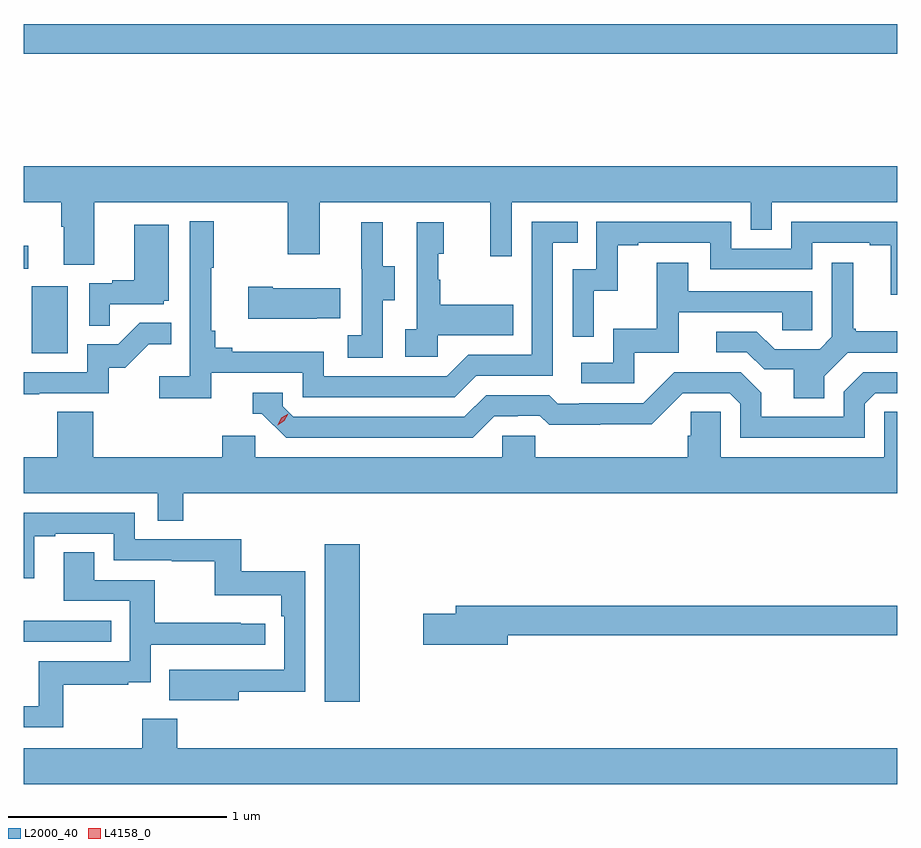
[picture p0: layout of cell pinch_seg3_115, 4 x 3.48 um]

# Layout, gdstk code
import gdstk
lib = gdstk.Library(unit=1e-6, precision=1e-09)
def R(c, l, rs):  # rectangles x0, y0, x1, y1
    for r in rs: c.add(gdstk.rectangle(r[:2], r[2:], *l))
def P(c, l, *ps):  # polygons
    for p in ps: c.add(gdstk.Polygon(p, *l))
L2000_40 = (2000, 40)
L4158_0 = (4158, 0)

pinch_seg3_115 = lib.new_cell('pinch_seg3_115')
R(pinch_seg3_115, L2000_40, [(1058.657,713.28,1058.818,714.001), (1057.279,713.556,1057.679,713.652), (1057.316,714.876,1057.48,715.183), (1057.279,715.263,1057.3,715.369), (1057.279,716.248,1061.279,716.384)])
P(pinch_seg3_115, L2000_40, [(1057.603,715.568),(1058.488,715.568),(1058.488,715.329),(1058.635,715.329),(1058.635,715.568),(1059.416,715.568),(1059.416,715.32),(1059.513,715.32),(1059.513,715.568),(1060.608,715.568),(1060.608,715.441),(1060.704,715.441),(1060.704,715.568),(1061.279,715.568),(1061.279,715.732),(1057.279,715.732),(1057.279,715.568),(1057.451,715.568),(1057.451,715.456),(1057.463,715.456),(1057.463,715.282),(1057.603,715.282)],
  [(1058.138,714.786),(1058.556,714.786),(1058.556,714.675),(1059.253,714.675),(1059.352,714.774),(1059.702,714.774),(1059.702,715.383),(1059.815,715.383),(1059.815,715.479),(1059.606,715.479),(1059.606,714.87),(1059.315,714.87),(1059.216,714.771),(1058.652,714.771),(1058.652,714.883),(1058.233,714.883),(1058.233,714.902),(1058.156,714.902),(1058.156,714.979),(1058.137,714.979),(1058.137,715.267),(1058.149,715.267),(1058.149,715.48),(1058.04,715.48),(1058.04,714.772),(1057.899,714.772),(1057.899,714.67),(1058.138,714.67)],
  [(1059.888,715.163),(1059.998,715.163),(1059.998,715.371),(1060.093,715.371),(1060.093,715.383),(1060.422,715.383),(1060.422,715.26),(1060.89,715.26),(1060.89,715.383),(1061.153,715.383),(1061.153,715.371),(1061.249,715.371),(1061.249,715.145),(1061.279,715.145),(1061.279,715.479),(1060.794,715.479),(1060.794,715.356),(1060.518,715.356),(1060.518,715.479),(1059.9,715.479),(1059.9,715.26),(1059.792,715.26),(1059.792,714.951),(1059.888,714.951)],
  [(1058.922,715.12),(1058.977,715.12),(1058.977,715.275),(1058.923,715.275),(1058.923,715.477),(1058.825,715.477),(1058.825,715.263),(1058.826,715.263),(1058.826,714.959),(1058.763,714.959),(1058.763,714.856),(1058.922,714.856)],
  [(1059.174,714.959),(1059.521,714.959),(1059.521,715.099),(1059.187,715.099),(1059.187,715.214),(1059.177,715.214),(1059.177,715.332),(1059.202,715.332),(1059.202,715.477),(1059.078,715.477),(1059.078,714.986),(1059.027,714.986),(1059.027,714.861),(1059.174,714.861)],
  [(1057.673,715.101),(1057.92,715.101),(1057.92,715.116),(1057.942,715.116),(1057.942,715.465),(1057.784,715.465),(1057.784,715.21),(1057.685,715.21),(1057.685,715.197),(1057.578,715.197),(1057.578,715.003),(1057.673,715.003)],
  [(1060.945,714.772),(1061.052,714.879),(1061.279,714.879),(1061.279,714.976),(1061.089,714.976),(1061.089,714.988),(1061.077,714.988),(1061.077,715.291),(1060.98,715.291),(1060.98,714.951),(1060.923,714.894),(1060.717,714.894),(1060.636,714.975),(1060.449,714.975),(1060.449,714.882),(1060.59,714.882),(1060.67,714.802),(1060.805,714.802),(1060.805,714.67),(1060.945,714.67)],
  [(1060.074,714.879),(1060.279,714.879),(1060.279,715.065),(1060.753,715.065),(1060.753,714.981),(1060.89,714.981),(1060.89,715.161),(1060.321,715.161),(1060.321,715.291),(1060.177,715.291),(1060.177,714.988),(1059.978,714.988),(1059.978,714.834),(1059.831,714.834),(1059.831,714.738),(1060.074,714.738)],
  [(1058.621,715.037),(1058.729,715.037),(1058.729,715.174),(1058.419,715.174),(1058.419,715.182),(1058.307,715.182),(1058.307,715.034),(1058.621,715.034)],
  [(1057.349,714.693),(1057.668,714.693),(1057.668,714.81),(1057.744,714.81),(1057.851,714.917),(1057.955,714.917),(1057.955,715.016),(1057.811,715.016),(1057.713,714.918),(1057.569,714.918),(1057.569,714.789),(1057.279,714.789),(1057.279,714.688),(1057.349,714.688)],
  [(1059.433,714.588),(1059.54,714.588),(1059.54,714.591),(1059.643,714.591),(1059.685,714.549),(1059.918,714.549),(1059.918,714.551),(1060.154,714.551),(1060.296,714.693),(1060.512,714.693),(1060.56,714.645),(1060.56,714.489),(1061.13,714.489),(1061.13,714.645),(1061.178,714.693),(1061.279,714.693),(1061.279,714.789),(1061.124,714.789),(1061.034,714.699),(1061.034,714.585),(1060.657,714.585),(1060.657,714.695),(1060.563,714.789),(1060.257,714.789),(1060.116,714.648),(1059.823,714.648),(1059.823,714.645),(1059.724,714.645),(1059.685,714.684),(1059.396,714.684),(1059.297,714.585),(1058.514,714.585),(1058.466,714.633),(1058.466,714.696),(1058.327,714.696),(1058.327,714.6),(1058.37,714.6),(1058.481,714.489),(1059.334,714.489)],
  [(1058.009,714.236),(1061.279,714.236),(1061.279,714.608),(1061.22,714.608),(1061.22,714.4),(1060.47,714.4),(1060.47,714.608),(1060.333,714.608),(1060.333,714.498),(1060.319,714.498),(1060.319,714.4),(1059.621,714.4),(1059.621,714.498),(1059.471,714.498),(1059.471,714.4),(1058.34,714.4),(1058.34,714.498),(1058.189,714.498),(1058.189,714.4),(1057.598,714.4),(1057.598,714.608),(1057.433,714.608),(1057.433,714.4),(1057.279,714.4),(1057.279,714.236),(1057.893,714.236),(1057.893,714.109),(1058.009,714.109)],
  [(1058.263,713.326),(1058.568,713.326),(1058.568,713.878),(1058.275,713.878),(1058.275,714.024),(1057.788,714.024),(1057.788,714.147),(1057.279,714.147),(1057.279,713.846),(1057.327,713.846),(1057.327,714.039),(1057.423,714.039),(1057.423,714.051),(1057.692,714.051),(1057.692,713.928),(1057.957,713.928),(1057.957,713.923),(1058.154,713.923),(1058.154,713.768),(1058.459,713.768),(1058.459,713.672),(1058.472,713.672),(1058.472,713.427),(1058.159,713.427),(1058.159,713.428),(1057.945,713.428),(1057.945,713.288),(1058.263,713.288)],
  [(1057.459,713.358),(1057.757,713.358),(1057.757,713.369),(1057.86,713.369),(1057.86,713.541),(1058.386,713.541),(1058.386,713.637),(1058.273,713.637),(1058.273,713.642),(1057.88,713.642),(1057.88,713.838),(1057.603,713.838),(1057.603,713.966),(1057.463,713.966),(1057.463,713.742),(1057.764,713.742),(1057.764,713.466),(1057.348,713.466),(1057.348,713.26),(1057.279,713.26),(1057.279,713.163),(1057.459,713.163)],
  [(1059.496,713.584),(1061.279,713.584),(1061.279,713.72),(1059.257,713.72),(1059.257,713.684),(1059.108,713.684),(1059.108,713.542),(1059.496,713.542)],
  [(1061.279,713.068),(1057.982,713.068),(1057.982,713.203),(1057.822,713.203),(1057.822,713.068),(1057.279,713.068),(1057.279,712.904),(1061.279,712.904)])
P(pinch_seg3_115, L4158_0, [(1058.442,714.547),(1058.442,714.548),(1058.459,714.58),(1058.49,714.6),(1058.49,714.6),(1058.49,714.599),(1058.473,714.567),(1058.442,714.547)])

lib.write_gds('pinch_seg3_115.gds')
